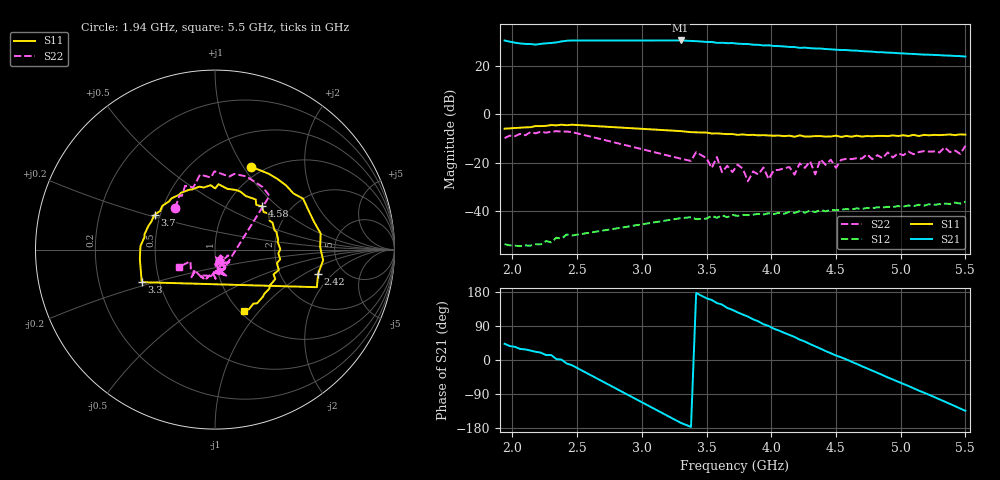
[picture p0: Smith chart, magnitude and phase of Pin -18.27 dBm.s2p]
! RsaToolbox (C) 2015 Rohde & Schwarz America
! Number of points: 68
! Number of ports: 2
! Balanced ports?: No
# Hz S RI R 50
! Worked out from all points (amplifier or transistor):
!   68 points, 1.94 GHz to 5.5 GHz, reference 50 ohm
!   highest |S21| = 30.3 dB at 3.3 GHz (marker M1)
!   |S21| within 3 dB of that: start of sweep to 4.214 GHz (the widest 1 of 2)
!   unconditionally stable (mu >= 1): start of sweep to end of sweep
!   at 2.38 GHz: K = 3.28, MAG = 32.5 dB, |S12| = -51.3 dB
!   at 4.18 GHz: K = 2.09, MAG = 28.2 dB, |S12| = -40.7 dB
!   at 5.5 GHz: K = 1.74, MAG = 24.9 dB, |S12| = -36.0 dB
!   S11 on the Smith chart (normalised r, x): 1.94 GHz: 0.89, +1.08; 2.42 GHz: 3.27, -1.35; 3.3 GHz: 0.40, -0.18; 3.7 GHz: 0.47, +0.21; 4.58 GHz: 1.45, +0.80; 5.5 GHz: 1.05, -0.83
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1.94e9  0.2031 0.4585  24.01 22.23  -0.000201 -0.0021  -0.2214 0.2335
2.06e9  0.3453 0.3954  24.89 13.94  -0.000553 -0.00183  -0.1665 0.3552
2.18e9  0.4911 0.2836  25.05 9.931  -0.000524 -0.00203  -0.0222 0.4017
2.3e9  0.5887 0.0895  28.42 6.601  -0.000589 -0.00222  0.108 0.4216
2.34e9  0.5859 0.0146  29.86 1.225  -0.00107 -0.00265  0.1769 0.4071
2.38e9  0.6025 -0.0595  31.41 0.5048  -0.000895 -0.00258  0.2099 0.3845
2.42e9  0.5745 -0.1347  31.95 -5.272  -0.00163 -0.00291  0.265 0.3489
2.46e9  0.5676 -0.2094  31.88 -7.802  -0.00145 -0.00281  0.3038 0.2994
3.3e9  -0.4079 -0.1814  -31.81 -8.159  -0.0049 0.00528  0.0473 -0.1115
3.42e9  -0.4186 -0.0509  -31.72 1.781  -0.00304 0.00617  0.0673 -0.1504
3.54e9  -0.3928 0.0706  -28.52 11.25  -0.00158 0.00793  0.0127 -0.0765
3.7e9  -0.3367 0.1942  -19.56 21.45  0.0011 0.00829  0.0217 -0.0603
3.74e9  -0.3054 0.2154  -16.46 22.88  0.00159 0.00787  0.00237 -0.0911
3.82e9  -0.2562 0.2684  -11.55 25.27  0.00292 0.0078  0.00478 -0.0412
3.98e9  -0.143 0.3336  0.0887 26.15  0.00572 0.00707  0.0394 -0.0233
4.18e9  0.00111 0.3408  11.76 21.07  0.00824 0.00413  -0.000232 -0.0567
4.34e9  0.1188 0.3317  18.16 13.23  0.00948 0.0015  0.0236 -0.0523
4.58e9  0.2612 0.2408  20.81 0.577  0.0106 -0.00333  0.0572 -0.1052
4.74e9  0.3201 0.1505  18.15 -7.341  0.0096 -0.00668  0.0504 -0.14
4.94e9  0.364 0.00224  11.38 -14.34  0.00591 -0.0107  -0.00575 -0.1276
5.22e9  0.3079 -0.1975  -0.5597 -16.69  -0.00112 -0.0139  -0.0845 -0.1458
5.5e9  0.1629 -0.3399  -10.67 -10.98  -0.00909 -0.0129  -0.2008 -0.0954
